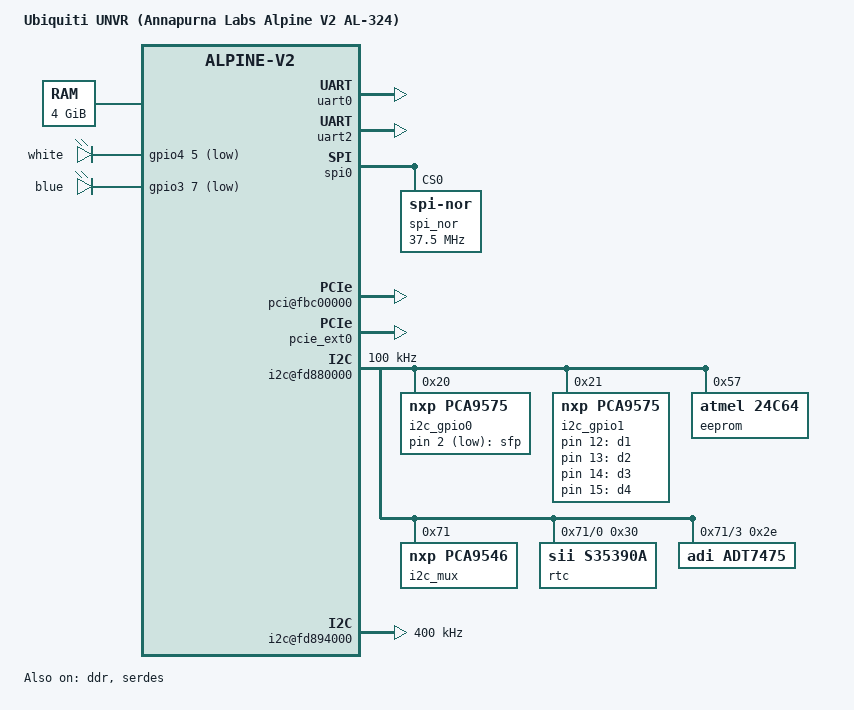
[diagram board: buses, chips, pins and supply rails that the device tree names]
// SPDX-License-Identifier: GPL-2.0+ OR X11
/*
 * Minimal U-Boot control DTS for the Ubiquiti UNVR
 * (Annapurna Labs Alpine V2 / AL-324, sysid 0xea16).
 *
 * Stage-1 console bring-up only: CPUs, PSCI, GIC-v3, arch timer, UART0,
 * memory. Addresses from docs/hardware.md (verified against the live DT).
 * PCIe/SATA/SPI-NOR/I2C nodes are added in later stages.
 */

/dts-v1/;

/ {
	model = "Ubiquiti UNVR (Annapurna Labs Alpine V2 AL-324)";
	compatible = "ubnt,unvr", "annapurna-labs,al-alpine-v2", "al,alpine-v2";
	interrupt-parent = <&gic>;
	#address-cells = <2>;
	#size-cells = <2>;

	aliases {
		serial0 = &uart0;
		serial2 = &uart2;	/* RPS-connector UART — usable as a 2nd console */
	};

	chosen {
		stdout-path = "serial0:1500000n8";
	};

	cpus {
		#address-cells = <2>;
		#size-cells = <0>;

		cpu0: cpu@0 {
			device_type = "cpu";
			compatible = "arm,cortex-a57";
			reg = <0x0 0x0>;
			enable-method = "psci";
		};
		cpu1: cpu@1 {
			device_type = "cpu";
			compatible = "arm,cortex-a57";
			reg = <0x0 0x1>;
			enable-method = "psci";
		};
		cpu2: cpu@2 {
			device_type = "cpu";
			compatible = "arm,cortex-a57";
			reg = <0x0 0x2>;
			enable-method = "psci";
		};
		cpu3: cpu@3 {
			device_type = "cpu";
			compatible = "arm,cortex-a57";
			reg = <0x0 0x3>;
			enable-method = "psci";
		};
	};

	psci {
		compatible = "arm,psci-0.2", "arm,psci";
		method = "smc";
	};

	timer {
		compatible = "arm,armv8-timer";
		/* GIC_PPI type; LEVEL_LOW(8) per the vendor dtsi */
		interrupts = <1 13 8>, <1 14 8>, <1 11 8>, <1 10 8>;
	};

	/* 4 GiB: 3 GiB contiguous at 0 + 1 GiB above 4 GiB (docs/hardware.md) */
	memory@0 {
		device_type = "memory";
		reg = <0x0 0x00000000 0x0 0xC0000000>,
		      <0x2 0x00000000 0x0 0x40000000>;
	};

	/* System-bus clock (500 MHz) — feeds the DW I2C IP so its 100 kHz
	 * dividers are computed against the real rate, not the 166 MHz fallback. */
	sbclk: sbclk {
		compatible = "fixed-clock";
		#clock-cells = <0>;
		clock-frequency = <500000000>;
	};


	gic: interrupt-controller@f0200000 {
		compatible = "arm,gic-v3";
		#interrupt-cells = <3>;
		#address-cells = <2>;
		#size-cells = <2>;
		interrupt-controller;
		reg = <0x0 0xf0200000 0x0 0x10000>,	/* GICD */
		      <0x0 0xf0280000 0x0 0x200000>;	/* GICR */
		interrupts = <1 9 4>;
	};

	soc {
		compatible = "simple-bus";
		#address-cells = <2>;
		#size-cells = <2>;
		ranges;

		uart0: serial@fd883000 {
			compatible = "ns16550a";
			reg = <0x0 0xfd883000 0x0 0x1000>;
			interrupts = <0 17 4>;		/* GIC_SPI 17 LEVEL_HIGH */
			clock-frequency = <500000000>;
			reg-shift = <2>;
			reg-io-width = <4>;
			status = "okay";
		};

		/*
		 * uart2 = the RPS-connector UART (ttyS2), RS-232 via MAX3221 (U122)
		 * out on JB4. Enabled as serial2 so it can serve as a SECOND console
		 * (`setenv stdout serial2; setenv stdin serial2`) — a spare RS-232
		 * console when RPS is unused. See docs/rps-subsystem.md,
		 * docs/uboot-hw-test-suite.md. RPS itself runs 115200 8N1 JSON.
		 */
		uart2: serial@fd885000 {
			compatible = "ns16550a";
			reg = <0x0 0xfd885000 0x0 0x1000>;
			interrupts = <0 19 4>;		/* GIC_SPI 19 LEVEL_HIGH */
			clock-frequency = <500000000>;
			reg-shift = <2>;
			reg-io-width = <4>;
			status = "okay";
		};

		/*
		 * DesignWare APB SSI SPI master @0xfd882000 -> the MX25U25635F SPI-NOR
		 * (32 MB, spi0.0). Gives our U-Boot raw NOR access for TWO things:
		 *   - env in the Factory partition (mtd3, offset 0x1e0000) - unused by
		 *     stock (0xFF across all firmware), so no shared-partition hazard (#81).
		 *   - the per-unit MAC in the EEPROM partition (mtd4, offset 0x1f0000+0x0)
		 *     read via al_eth read_rom_hwaddr (#89).
		 * Clock = &sbclk (500 MHz, same as stock's SPI node). Flash JEDEC-probed.
		 * docs/mtd.md, docs/hw-reference/.../live.dts (compatible + 37.5 MHz max).
		 */
		spi0: spi@fd882000 {
			compatible = "snps,dw-apb-ssi";
			reg = <0x0 0xfd882000 0x0 0x1000>;
			#address-cells = <1>;
			#size-cells = <0>;
			num-cs = <4>;
			clocks = <&sbclk>;
			status = "okay";

			spi_nor: flash@0 {
				compatible = "jedec,spi-nor";
				reg = <0>;
				spi-max-frequency = <37500000>;	/* 0x23c3460, per stock DT */
			};
		};

		/*
		 * DDR memory controller (Alpine V2 / AL-324). Consumed by the `ddr`
		 * command (board/annapurna/alpine/al_ddr) which reads its three
		 * register bases by reg-name via ofnode — NEVER hardcoded (#84).
		 *   nb   = nb-service (rev/int)   0xf0070000
		 *   ctrl = uMCTL2 controller      0xf0080000
		 *   phy  = DWC PUB PHY            0xf0088000
		 * docs/hardware.md / docs/uboot-ddr-port.md §4.
		 */
		ddr: memory-controller@f0080000 {
			compatible = "annapurna-labs,al-ddr";
			reg = <0x0 0xf0070000 0x0 0x10000>,	/* nb-service */
			      <0x0 0xf0080000 0x0 0x8000>,	/* uMCTL2 ctrl */
			      <0x0 0xf0088000 0x0 0x8000>;	/* PUB PHY */
			reg-names = "nb", "ctrl", "phy";
			status = "okay";
		};

		/*
		 * 25G SerDes PMA (AL-324 / Alpine V2) — the SFP+ 10G port's PHY.
		 * Consumed by CONFIG_AL_SERDES (drivers/phy/al_serdes); the `serdes`
		 * command reads both bases by reg-name via ofnode, never hardcoded.
		 * docs/hardware.md: serdes PMA @ 0xfd8c0000 size 0x2400.
		 *
		 * "pcs" = the eth2 MAC-adapter window that also holds the 10GBASE-R
		 * PCS sub-block (0xfe120000/0x10000) — SHARED with the eth/MAC path;
		 * optional (absent -> PCS left to the MAC agent). HW: confirm the
		 * exact PCS base on the box and reconcile with the eth MAC datapath.
		 */
		serdes: serdes@fd8c0000 {
			compatible = "annapurna-labs,al-serdes-25g";
			reg = <0x0 0xfd8c0000 0x0 0x00002400>,	/* serdes PMA */
			      <0x0 0xfe120000 0x0 0x00010000>;	/* pcs (MAC adapter) */
			reg-names = "serdes", "pcs";
			status = "okay";
		};

		/*
		 * 1G Ethernet (eth1 / al_eth1, RJ45): NO platform node here. It is a
		 * PCI-enumerated endpoint on the internal PCIe (vendor 0x1c36 dev
		 * 0x0001, bus 0) — the al_eth DM driver binds by PCI ID and maps its
		 * three BARs (UDMA/EC/MAC), so the bare eth0..3 nodes at 0xfc000000+
		 * in the stock DT are unused (docs/hardware.md). RGMII, external
		 * AR8033 PHY on the internal MDIO bus at addr 4; the driver drives
		 * the PHY via phylib. DMA coherency: the #74 SMCC snoop fix.
		 */

		/*
		 * al_eth board params. Node names, property names and values are a
		 * VERBATIM copy of stock's own /soc/board-cfg/ethernet
		 * (tmp/uboot-dtbs/dtb00-0x081048-26358B.dts, sysid ea16), so the two
		 * are diffable and our parser mirrors stock's board.c 1:1.
		 *
		 * These are the ONLY source of the MAC scratchpad registers Linux's
		 * al_eth reads at probe; without them it fails with "board info not
		 * available" and there is no ethernet at all. Written per port by
		 * al_eth_bp_seed() (drivers/net/al_eth/al_eth_boardparams.c).
		 *
		 * Reproduced as stock has it, including the DAC/optic contradiction
		 * on port2 (dac + force-1000base-x on a port with an SR optic) —
		 * matching behaviour first, see #200. Stock's leds/ subnode is not
		 * carried: board-params reg 3 holds only gpio_spd_10g/25g, and this
		 * board defines neither (it has leds/sfp_1g only), so reg 3 is 0
		 * either way.
		 */
		board-cfg {
			ethernet {
				port1 {
					status = "enabled";
					mode = "rgmii";

					ext_phy {
						phy_mgmt_if = "mdc-mdio";
						phy-addr = <0x04>;
						mdc-mdio-freq = "1.0Mhz";
						auto-neg-mode = "out-of-band";
					};
				};

				port2 {
					status = "enabled";
					mode = "auto-detect-auto-speed";
					i2c-id = <0x02>;
					serdes-grp = <0x03>;
					serdes-lane = <0x00>;

					10g-serial {
						dac = "enabled";
						dac-length = <0x03>;
						auto-neg = "disabled";
						link-training = "disabled";
						fec = "disabled";
						force-1000base-x = "enabled";
					};

					retimer {
						exist = "disabled";
						type = "br410";
						i2c-bus = <0x01>;
						i2c-addr = <0x56>;
						channel = "B";
					};
				};
			};
		};

		/*
		 * Internal PCIe host — an ECAM-compatible window at 0xfbc00000
		 * fronting the SoC's integrated PCI endpoints (bus 0 only): 2×
		 * AHCI SATA (1c36:0031, class AHCI 1.0), eth, crypto, DMA. We use
		 * "pci-host-ecam-generic" (U-Boot's PCIE_ECAM_GENERIC binds it);
		 * Linux uses the vendor "annapurna-labs,alpine-internal-pcie" host
		 * driver instead — the ONLY delta is that driver does the AXI snoop
		 * coherency fixup (see the note below + issue #74). Endpoints bind by
		 * PCI ID regardless of the host compatible. We ENUMERATE OURSELVES +
		 * assign BARs — never rely on stock U-Boot (no standalone enumeration).
		 *   reg    = ECAM config space (1 MB, one 4 KB window per devfn)
		 *   ranges = 32-bit non-prefetch MMIO, PCI 0xfe000000 -> CPU 1:1, 16 MB
		 * MSI/interrupts omitted: U-Boot polls AHCI.
		 * Annapurna extra NOT here yet: AXI SMCC snoop (cfg 0x110-0x170) +
		 * APP_CONTROL (0x220) for cache-coherent DMA — add via a board hook
		 * if AHCI DMA reads come back incoherent. (pcie-al-internal.c ref.)
		 */

		pci@fbc00000 {
			compatible = "pci-host-ecam-generic";
			device_type = "pci";
			#address-cells = <3>;
			#size-cells = <2>;
			#interrupt-cells = <1>;
			reg = <0x0 0xfbc00000 0x0 0x100000>;
			ranges = <0x02000000 0x0 0xfe000000  0x0 0xfe000000  0x0 0x01000000>;
			bus-range = <0x00 0x00>;
		};

		/* External PCIe port 0 - xHCI USB 3.0 host (ASMedia), same link
		 * Linux's pcie_ext0 (dts/alpine-v2-ubnt-unvr-ea16.dts) uses via
		 * the amazon,al-alpine-v2-pcie driver - no U-Boot driver exists
		 * for that compatible, so this uses the generic ECAM driver
		 * instead. WIP (#137/#132/#140): the controller enumerates but
		 * `pci`/`pci enum` showed the SAME device at every devfn on the
		 * bus (01.00.00 through 01.1f.00, all identical).
		 *
		 * bus-range = <0x01 0x01> below (real assigned bus, since the
		 * internal pci@fbc00000 node already claims bus 0) was tested as
		 * a fix for a suspected reg-window/bus-offset mismatch -
		 * DISPROVEN on hardware, identical aliasing either way. Kept
		 * anyway since it's a more accurate description of the real
		 * topology (one bus, not 256), but the actual bug is elsewhere -
		 * most likely this controller genuinely isn't flat-ECAM (needs
		 * real per-access config-space windowing, which
		 * pci-host-ecam-generic doesn't provide) - see #140 for the next
		 * steps (compare against amazon,al-alpine-v2-pcie / the vendor
		 * decompiled binary for real windowing logic). device-context
		 * allocation may also still time out separately once enumeration
		 * is fixed - likely needs explicit SMCC snoop-enable register
		 * writes for this bus too (dma-coherent alone doesn't configure
		 * the hardware snoop bits, same class of thing the internal
		 * bus's al_pcie_internal_notifier does). Not yet fixed.
		 */
		pcie_ext0: pci@fb600000 {
			compatible = "pci-host-ecam-generic";
			device_type = "pci";
			dma-coherent;
			#address-cells = <3>;
			#size-cells = <2>;
			#interrupt-cells = <1>;
			reg = <0x0 0xfb600000 0x0 0x100000>;
			ranges = <0x02000000 0x0 0xc0010000  0x0 0xc0010000  0x0 0x07ff0000>;
			bus-range = <0x01 0x01>;
		};

		/* SoC GPIO (PL061), 6 banks × 8 = 48 lines. "arm,pl061" only (drop
		 * primecell -> no AMBA needed). gpio-line-names = the live MUIO
		 * pinmux map (read 2026-08-18, docs/gpio-map.md) so `gpio status`
		 * self-labels every ball: mux func 0=GPIO / nand / uart2(RPS) /
		 * sgpo / eth-led. "spare*" = GPIO-mode, no known consumer (SW1/SW2/
		 * strap candidates). NAND-bus lines named so they're not mistaken
		 * for free. */
		gpio0: gpio@fd887000 {
			compatible = "arm,pl061"; reg = <0x0 0xfd887000 0x0 0x1000>;
			gpio-controller; #gpio-cells = <2>;
			gpio-line-names = "sfp-25g-led", "spare1", "spare2", "spare3",
					  "spare4", "spare5", "nand-d0", "nand-d1";
		};
		gpio1: gpio@fd888000 {
			compatible = "arm,pl061"; reg = <0x0 0xfd888000 0x0 0x1000>;
			gpio-controller; #gpio-cells = <2>;
			gpio-line-names = "nand-d2", "nand-d3", "nand-d4", "nand-d5",
					  "nand-d6", "nand-d7", "nand-d8", "nand-d9";
		};
		gpio2: gpio@fd889000 {
			compatible = "arm,pl061"; reg = <0x0 0xfd889000 0x0 0x1000>;
			gpio-controller; #gpio-cells = <2>;
			gpio-line-names = "nand-d10", "nand-d11", "nand-d12", "nand-cs",
					  "spare20", "sgpo", "spare22", "spare23";
		};
		gpio5: gpio@fd897000 {
			compatible = "arm,pl061"; reg = <0x0 0xfd897000 0x0 0x1000>;
			gpio-controller; #gpio-cells = <2>;
			gpio-line-names = "spare40", "spare41", "hdd-force-pwr", "spare43",
					  "spare44", "spare45", "spare46", "spare47";
		};
		gpio3: gpio@fd88a000 {
			compatible = "arm,pl061";
			reg = <0x0 0xfd88a000 0x0 0x1000>;
			gpio-controller;
			#gpio-cells = <2>;
			gpio-line-names = "sgpo", "sgpo", "uart2-rps-rx", "uart2-rps-tx",
					  "spare28", "spare29", "eth-led", "ulogo-blue";
		};
		gpio4: gpio@fd88b000 {
			compatible = "arm,pl061";
			reg = <0x0 0xfd88b000 0x0 0x1000>;
			gpio-controller;
			#gpio-cells = <2>;
			gpio-line-names = "spare32", "rps-prnt", "12v-lp", "spare35",
					  "spare36", "ulogo-white", "reset-btn", "spare39";
		};

		/*
		 * I2C "i2c-pld" (DesignWare) @ fd880000, 100 kHz. Hosts the PCA9575
		 * GPIO expanders. We need @0x21 to POWER THE SATA BAYS before AHCI:
		 * on a warm reset the expander drops its outputs, so the drives are
		 * unpowered and every SATA link times out. Same hog the kernel DTS
		 * uses (bays 1-4 = lines 0-3, active-high). This is the "just power
		 * the drive" step — replicated from upstream, not invented.
		 */
		i2c@fd880000 {
			compatible = "snps,designware-i2c";
			reg = <0x0 0xfd880000 0x0 0x1000>;
			clocks = <&sbclk>;
			/* 100 kHz (Standard-mode) = stock's speed. NOT max-by-default:
			 * the s35390a RTC on mux ch0 mis-reads a phantom START/STOP at
			 * 400 kHz and holds SDA -> whole-bus wedge, unrecoverable in SW on
			 * this bus (no GPIO alt for a bit-bang deblock; DW v1.20 has no HW
			 * SDA-stuck recovery - docs/rtc-s35390a-fault.md). Stock ran 100 kHz
			 * and talked to the RTC fine. Tolerant devices don't care. */
			clock-frequency = <100000>;
			/* SDA hold time = the stock board value (live.dts:
			 * i2c-sda-hold-time-ns = 0x12c = 300 ns), which mainline dropped.
			 * Restored for parity with stock. Effect on the RTC: unverified. */
			i2c-sda-hold-time-ns = <300>;
			/* Stock's proven raw SCL counts (live.dts:249-254) so the
			 * s35390a doesn't wedge (docs/rtc-s35390a-fault.md). At
			 * clock-frequency=100000 the SS pair is used; fs/hs carried
			 * for completeness. Honored by our patched DW i2c driver. */
			i2c-ss-scl-hcnt-raw = <0x855>;
			i2c-ss-scl-lcnt-raw = <0xb0b>;
			i2c-fs-scl-hcnt-raw = <0x19d>;
			i2c-fs-scl-lcnt-raw = <0x320>;
			i2c-hs-scl-hcnt-raw = <0xf3>;
			i2c-hs-scl-lcnt-raw = <0x198>;
			#address-cells = <1>;
			#size-cells = <0>;
			status = "okay";

			/* @0x20 — SFP+ 1G link LED on pin 2 (see LED map). */
			i2c_gpio0: gpio@20 {
				compatible = "nxp,pca9575";
				reg = <0x20>;
				gpio-controller;
				#gpio-cells = <2>;
			};

			i2c_gpio1: gpio@21 {
				compatible = "nxp,pca9575";
				reg = <0x21>;
				gpio-controller;
				#gpio-cells = <2>;

				/* One hog per line — U-Boot's gpio-hog only takes the
				 * FIRST gpio in a list, so a single node with 4 gpios
				 * powered only bay 1. Bays 1-4 = lines 0-3, active-high. */
				hdd-pwren0-hog { gpio-hog; gpios = <0 0>; output-high; line-name = "hdd-pwren0"; };
				hdd-pwren1-hog { gpio-hog; gpios = <1 0>; output-high; line-name = "hdd-pwren1"; };
				hdd-pwren2-hog { gpio-hog; gpios = <2 0>; output-high; line-name = "hdd-pwren2"; };
				hdd-pwren3-hog { gpio-hog; gpios = <3 0>; output-high; line-name = "hdd-pwren3"; };
			};

			/* DDR-config EEPROM @0x57 (AT24C64, 16-bit addr). Reads
			 * 0x1c36-repeating — the DDR bootstrap blob (issue #67), not
			 * plain SPD. Node lets `i2c md` use the right 2-byte offset. */
			eeprom@57 {
				compatible = "atmel,24c64";
				reg = <0x57>;
				pagesize = <32>;
			};

			/* PCA9546 i2c mux @0x71 as real child buses so `i2c bus` /
			 * `i2c dev <n>; i2c probe` scan each channel (needs I2C_MUX +
			 * I2C_MUX_PCA954x). ch0 -> s35390a RTC @0x30 + SFP EEPROM @0x50;
			 * ch3 -> adt7475 FAN CONTROLLER @0x2e; ch1/ch2 empty. The mux
			 * uclass deselects (writes 0x00) after every access, so a wedged
			 * ch0 can't hold the parent bus between transfers. Only touch ch0
			 * deliberately — the s35390a can still hold SDA mid-transfer. */
			i2c_mux: i2c-mux@71 {
				compatible = "nxp,pca9546";
				reg = <0x71>;
				#address-cells = <1>;
				#size-cells = <0>;

				i2c@0 {
					reg = <0>;
					#address-cells = <1>;
					#size-cells = <0>;

					rtc@30 {
						compatible = "sii,s35390a";
						reg = <0x30>;
					};
				};

				i2c@3 {
					reg = <3>;
					#address-cells = <1>;
					#size-cells = <0>;

					/* adt7475 PWM fan controller (temp/voltage + fan drive) */
					adt7475@2e {
						compatible = "adi,adt7475";
						reg = <0x2e>;
					};
				};
			};
		};

		/* Second DW i2c "i2c-gen" @0xfd894000. Carries the 2x RPS ORing power
		 * monitors (12V + 54V rails, U48-area — docs/i2c-map.md). A live probe
		 * reads EMPTY, but that is the PINMUX not absence: pins 30/31 aren't
		 * muxed to I2C_GEN (func2), so the controller can't drive the bus (#64).
		 * Enabled anyway for RE. clock via sbclk, same 400 kHz. */
		i2c@fd894000 {
			compatible = "snps,designware-i2c";
			reg = <0x0 0xfd894000 0x0 0x1000>;
			clocks = <&sbclk>;
			clock-frequency = <400000>;
			#address-cells = <1>;
			#size-cells = <0>;
			status = "okay";
		};
	};

	/* Named LEDs -> the `led` command (led <label> on|off, led list). All
	 * default-on so a running our-U-Boot lights the panel. pca9575-backed only
	 * for now: SFP (@0x20 pin2) + bay1-4 fault (@0x21 lines12-15, orange).
	 * Logo (al_gpio) + bay activity (SGPO) LEDs need those driver ports. */
	leds {
		compatible = "gpio-leds";
		led-d1 { label = "d1"; gpios = <&i2c_gpio1 12 0>; default-state = "on"; };
		led-d2 { label = "d2"; gpios = <&i2c_gpio1 13 0>; default-state = "on"; };
		led-d3 { label = "d3"; gpios = <&i2c_gpio1 14 0>; default-state = "on"; };
		led-d4 { label = "d4"; gpios = <&i2c_gpio1 15 0>; default-state = "on"; };
		led-sfp { label = "sfp"; gpios = <&i2c_gpio0 2 1>; default-state = "on"; };
		led-white { label = "white"; gpios = <&gpio4 5 1>; default-state = "on"; };
		led-blue { label = "blue"; gpios = <&gpio3 7 1>; default-state = "on"; };
	};
};
